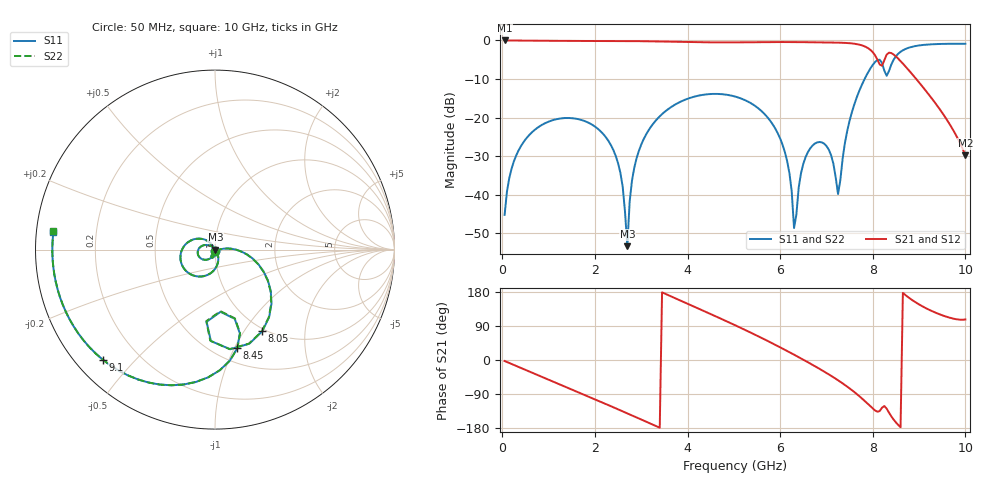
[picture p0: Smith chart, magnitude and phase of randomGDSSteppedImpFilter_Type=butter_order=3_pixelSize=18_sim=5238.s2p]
! freq	dB(S11)	phase(S11)	dB(S12)	phase(S12)
!  dB(S21)	phase(S21)	dB(S22)	phase(S22)
!S-par simulation data
#  GHz  S  DB  R 50
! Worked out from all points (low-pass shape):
!   200 points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, 50 MHz to 10 GHz, reference 50 ohm
!   highest |S21| = 0.00 dB at 50 MHz (marker M1); lowest = -29.8 dB at 10 GHz (marker M2)
!   |S21| within 3 dB of the highest: start of sweep to 7.996 GHz
!   lowest |S11| = -53.3 dB at 2.7 GHz (marker M3), VSWR 1.00, Z = 50.2 + j0.045 ohm
!   |S11| at or under -10 dB: start of sweep to 7.824 GHz
!   |S22| runs from -53.0 to -0.9 dB; largest |S21 - S12| = 0
!   S11 on the Smith chart (normalised r, x): 50 MHz: 1.00, -0.01; 8.05 GHz: 0.96, -1.21; 8.45 GHz: 0.64, -1.03; 9.1 GHz: 0.08, -0.41; 10 GHz: 0.05, +0.06
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0.05  -45.24 -92.0  -0.00 -2.7  -0.00 -2.7  -45.24 -92.0
0.55  -24.94 -118.9  -0.05 -28.6  -0.05 -28.6  -24.94 -118.9
1.75  -20.78 178.1  -0.14 -90.7  -0.14 -90.7  -20.78 178.0
2.45  -29.96 140.1  -0.15 -127.5  -0.15 -127.5  -29.96 139.8
2.6  -37.94 129.5  -0.16 -135.5  -0.16 -135.5  -37.93 128.7
2.7  -53.34 12.0  -0.16 -140.9  -0.16 -140.9  -52.98 13.3
2.9  -30.53 -60.4  -0.18 -151.6  -0.18 -151.6  -30.53 -59.9
3.4  -19.68 -88.6  -0.27 -178.8  -0.27 -178.8  -19.67 -88.4
5.05  -14.62 -178.5  -0.50 90.5  -0.50 90.5  -14.62 -178.3
6  -25.43 127.3  -0.42 33.4  -0.42 33.4  -25.42 128.1
6.2  -34.40 119.5  -0.42 20.6  -0.42 20.6  -34.33 121.8
6.3  -48.63 148.8  -0.42 14.1  -0.42 14.1  -47.38 155.8
6.45  -34.44 -90.9  -0.44 4.2  -0.44 4.2  -34.41 -93.0
6.7  -27.24 -102.4  -0.47 -12.8  -0.47 -12.8  -27.24 -103.1
7.05  -28.32 -120.2  -0.53 -37.9  -0.53 -37.9  -28.32 -120.7
7.25  -39.82 -69.7  -0.57 -53.5  -0.57 -53.5  -39.87 -70.0
7.55  -18.57 -0.2  -0.77 -79.6  -0.77 -79.6  -18.58 -0.4
8.05  -5.58 -60.0  -3.86 -133.2  -3.86 -133.2  -5.59 -60.3
8.35  -7.94 -74.1  -3.17 -138.9  -3.17 -138.9  -7.99 -73.9
8.45  -4.99 -77.3  -3.65 -157.2  -3.65 -157.2  -5.00 -77.1
9.1  -1.15 -135.5  -12.36 139.8  -12.36 139.8  -1.15 -135.5
10  -0.86 173.6  -29.83 106.9  -29.83 106.9  -0.86 173.6
